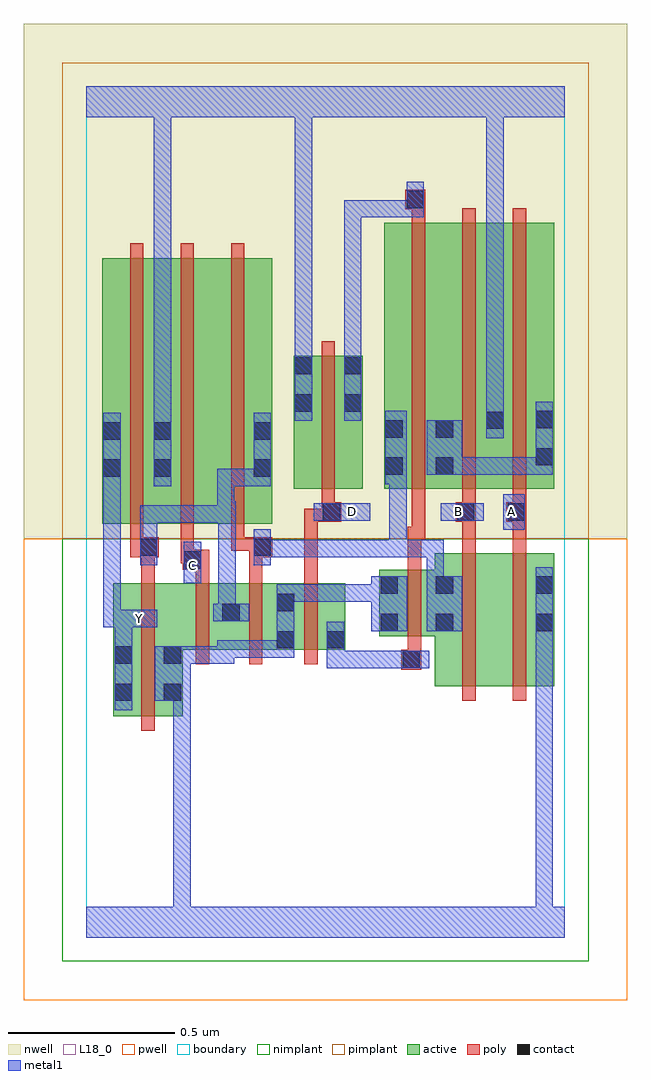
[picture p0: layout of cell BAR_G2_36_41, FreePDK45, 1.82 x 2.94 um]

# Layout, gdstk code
import gdstk
lib = gdstk.Library(unit=1e-6, precision=1e-09)
def R(c, l, rs):  # rectangles x0, y0, x1, y1
    for r in rs: c.add(gdstk.rectangle(r[:2], r[2:], *l))
def A(c, l, x, y, w, h, nx, ny, dx, dy):  # array of equal rectangles
    R(c, l, [(x+i*dx, y+j*dy, x+i*dx+w, y+j*dy+h) for i in range(nx) for j in range(ny)])
active = (1, 0)
pwell = (2, 0)
nwell = (3, 0)
nimplant = (4, 0)
pimplant = (5, 0)
poly = (9, 0)
contact = (10, 0)
metal1 = (11, 0)
L18_0 = (18, 0)
boundary = (235, 0)

bar_g2_36_41 = lib.new_cell('BAR_G2_36_41')
A(bar_g2_36_41, active, 0.896, 1.35, 0.06, 0.8, 3, 1, 0.152, 0)
R(bar_g2_36_41, active, [(0.082,0.666,0.142,1.066), (0.082,0.666,0.29,1.066), (0.23,0.708,0.29,0.908), (1.048,0.756,1.228,1.156), (1.048,0.756,1.108,1.106), (1.228,0.756,1.408,1.156), (1.348,0.756,1.408,1.156), (0.23,0.866,0.466,1.066), (0.406,0.866,0.466,1.066), (0.406,0.866,0.63,1.066), (0.57,0.866,0.78,1.066), (0.57,0.866,0.63,1.038), (0.72,0.866,0.78,1.066), (0.882,0.906,1.108,1.106), (0.882,0.906,0.942,1.106), (0.048,1.244,0.108,2.044), (0.048,1.244,0.26,2.044), (0.2,1.244,0.26,2.044), (0.2,1.244,0.38,2.044), (0.38,1.244,0.56,2.044), (0.5,1.244,0.56,2.044), (0.624,1.35,0.684,1.75), (0.624,1.35,0.832,1.75), (0.772,1.35,0.832,1.75), (0.896,1.35,1.108,2.15), (1.048,1.35,1.26,2.15), (1.2,1.35,1.408,2.15), (1.348,1.35,1.408,2.15)])
R(bar_g2_36_41, pwell, [(-0.188,-0.188,1.628,1.2)])
R(bar_g2_36_41, nwell, [(-0.188,1.2,1.628,2.748)])
R(bar_g2_36_41, nimplant, [(-0.072,-0.072,1.512,1.2)])
R(bar_g2_36_41, pimplant, [(-0.072,1.2,1.512,2.632)])
A(bar_g2_36_41, poly, 0.132, 1.2, 0.04, 0.888, 3, 1, 0.152, 0)
A(bar_g2_36_41, poly, 0.98, 1.306, 0.04, 0.888, 3, 1, 0.152, 0)
R(bar_g2_36_41, poly, [(0.166,0.622,0.206,1.11), (1.132,0.712,1.172,1.2), (1.284,0.712,1.324,1.2), (0.948,0.806,1.008,0.866), (0.33,0.822,0.37,1.11), (0.49,0.822,0.53,1.11), (0.656,0.822,0.696,1.11), (0.968,0.826,1.008,0.902), (0.968,0.862,1.008,1.15), (0.166,1.07,0.206,1.184), (0.33,1.07,0.37,1.146), (0.49,1.07,0.53,1.184), (0.656,1.07,0.696,1.29), (0.29,1.106,0.37,1.166), (0.968,1.11,1.008,1.236), (0.284,1.126,0.324,1.24), (0.284,1.126,0.33,1.166), (0.29,1.126,0.33,1.166), (0.132,1.144,0.218,1.204), (0.166,1.144,0.206,1.184), (0.166,1.144,0.206,1.184), (0.49,1.144,0.56,1.204), (1.132,1.16,1.172,1.29), (1.284,1.16,1.324,1.29), (0.132,1.164,0.172,1.24), (0.436,1.164,0.476,1.24), (0.436,1.164,0.53,1.204), (0.49,1.164,0.53,1.204), (0.968,1.196,1.008,1.236), (0.968,1.196,1.008,1.236), (0.968,1.196,1.02,1.236), (0.98,1.196,1.02,1.346), (0.656,1.25,0.748,1.29), (0.708,1.25,0.748,1.29), (0.708,1.25,0.768,1.31), (1.112,1.25,1.172,1.31), (1.132,1.25,1.172,1.29), (1.132,1.25,1.172,1.29), (1.264,1.25,1.324,1.31), (0.708,1.27,0.748,1.346), (1.132,1.27,1.172,1.346), (1.284,1.27,1.324,1.346), (1.284,1.27,1.324,1.31), (1.284,1.27,1.324,1.31), (0.708,1.306,0.748,1.794), (0.98,2.154,1.02,2.23), (0.96,2.19,1.02,2.25)])
R(bar_g2_36_41, contact, [(0.086,0.712,0.138,0.764), (0.234,0.712,0.286,0.764), (0.952,0.81,1.004,0.862), (0.086,0.824,0.138,0.876), (0.234,0.824,0.286,0.876), (0.574,0.87,0.626,0.922), (0.724,0.87,0.776,0.922), (0.886,0.922,0.938,0.974), (1.052,0.922,1.104,0.974), (1.352,0.922,1.404,0.974), (0.41,0.952,0.462,1.004), (0.574,0.982,0.626,1.034), (0.886,1.034,0.938,1.086), (1.052,1.034,1.104,1.086), (1.352,1.034,1.404,1.086), (0.294,1.11,0.346,1.162), (0.162,1.148,0.214,1.2), (0.504,1.148,0.556,1.2), (0.712,1.254,0.764,1.306), (1.116,1.254,1.168,1.306), (1.268,1.254,1.32,1.306), (0.052,1.386,0.104,1.438), (0.204,1.386,0.256,1.438), (0.504,1.386,0.556,1.438), (0.9,1.392,0.952,1.444), (1.052,1.392,1.104,1.444), (1.352,1.42,1.404,1.472), (0.052,1.498,0.104,1.55), (0.204,1.498,0.256,1.55), (0.504,1.498,0.556,1.55), (0.9,1.504,0.952,1.556), (1.052,1.504,1.104,1.556), (1.204,1.53,1.256,1.582), (1.352,1.532,1.404,1.584), (0.628,1.582,0.68,1.634), (0.776,1.582,0.828,1.634), (0.628,1.694,0.68,1.746), (0.776,1.694,0.828,1.746), (0.964,2.194,1.016,2.246)])
R(bar_g2_36_41, metal1, [(0,0,1.44,0.092), (0.262,0.04,0.314,0.092), (0.262,0.04,0.314,0.092), (0.262,0.04,0.314,0.092), (0.262,0.04,0.314,0.092), (0.262,0.04,0.314,0.092), (0.262,0.04,0.314,0.092), (0.262,0.04,0.314,0.092), (0.262,0.04,0.314,0.092), (0.262,0.04,0.314,0.092), (0.262,0.04,0.314,0.092), (0.262,0.04,0.314,0.764), (1.352,0.04,1.404,0.092), (1.352,0.04,1.404,0.092), (1.352,0.04,1.404,0.946), (0.086,0.684,0.138,0.904), (0.206,0.712,0.314,0.876), (0.262,0.712,0.314,0.764), (0.262,0.712,0.314,0.764), (0.724,0.81,0.776,0.862), (0.724,0.81,0.966,0.862), (0.724,0.81,0.776,0.894), (0.914,0.81,0.966,0.862), (0.914,0.81,0.976,0.862), (0.924,0.81,1.032,0.862), (0.262,0.824,0.446,0.876), (0.394,0.824,0.446,0.876), (0.394,0.824,0.446,0.876), (0.394,0.824,0.446,0.876), (0.394,0.824,0.446,0.876), (0.394,0.824,0.446,0.876), (0.394,0.824,0.446,0.894), (0.394,0.842,0.446,0.894), (0.394,0.842,0.556,0.894), (0.504,0.842,0.556,0.894), (0.504,0.842,0.626,0.894), (0.574,0.842,0.626,1.062), (0.724,0.842,0.776,0.95), (0.086,0.852,0.138,0.986), (1.352,0.894,1.404,0.946), (1.352,0.894,1.404,0.946), (1.352,0.894,1.404,0.946), (1.352,0.894,1.404,0.946), (1.352,0.894,1.404,0.946), (1.352,0.894,1.404,0.946), (1.352,0.894,1.404,0.946), (1.352,0.894,1.404,0.946), (1.352,0.894,1.404,0.946), (1.352,0.894,1.404,0.946), (1.352,0.894,1.404,1.114), (0.858,0.922,0.966,1.086), (1.024,0.922,1.132,1.086), (0.052,0.934,0.214,0.986), (0.052,0.934,0.104,1.41), (0.382,0.952,0.49,1.004), (0.398,0.952,0.45,1.004), (0.398,0.952,0.45,1.004), (0.398,0.952,0.45,1.312), (0.574,1.01,0.626,1.062), (0.574,1.01,0.626,1.062), (0.574,1.01,0.666,1.062), (0.614,1.01,0.666,1.062), (0.614,1.01,0.786,1.062), (0.734,1.01,0.786,1.062), (0.734,1.01,0.786,1.062), (0.734,1.01,0.786,1.062), (0.734,1.01,0.91,1.062), (1.024,1.034,1.076,1.196), (0.294,1.066,0.346,1.19), (0.162,1.12,0.214,1.228), (0.504,1.12,0.556,1.228), (0.504,1.144,0.56,1.196), (0.508,1.144,0.56,1.196), (0.508,1.144,0.666,1.196), (0.614,1.144,0.666,1.196), (0.614,1.144,0.8,1.196), (0.748,1.144,0.8,1.196), (0.748,1.144,0.8,1.196), (0.748,1.144,0.8,1.196), (0.748,1.144,0.964,1.196), (0.912,1.144,0.964,1.196), (0.912,1.144,0.964,1.196), (0.912,1.144,0.964,1.196), (0.912,1.144,1.076,1.196), (0.912,1.144,0.964,1.416), (1.024,1.144,1.076,1.196), (0.162,1.176,0.214,1.228), (0.162,1.176,0.214,1.3), (1.254,1.226,1.32,1.334), (0.162,1.248,0.446,1.3), (0.394,1.248,0.446,1.312), (0.684,1.254,0.854,1.306), (1.066,1.254,1.196,1.306), (0.394,1.26,0.446,1.312), (0.394,1.26,0.45,1.312), (0.394,1.26,0.446,1.41), (0.052,1.358,0.104,1.41), (0.052,1.358,0.104,1.41), (0.052,1.358,0.104,1.578), (0.204,1.358,0.256,1.578), (0.394,1.358,0.446,1.41), (0.394,1.358,0.556,1.41), (0.504,1.358,0.556,1.41), (0.504,1.358,0.556,1.41), (0.504,1.358,0.556,1.578), (0.9,1.364,0.964,1.584), (0.912,1.364,0.964,1.416), (0.912,1.364,0.964,1.416), (1.024,1.392,1.132,1.556), (1.08,1.392,1.132,1.444), (1.08,1.392,1.132,1.444), (1.08,1.392,1.294,1.444), (1.242,1.392,1.294,1.444), (1.242,1.392,1.404,1.444), (1.352,1.392,1.404,1.444), (1.352,1.392,1.404,1.444), (1.352,1.392,1.404,1.612), (1.204,1.502,1.256,1.61), (0.204,1.526,0.256,1.578), (0.204,1.526,0.256,1.578), (0.204,1.526,0.256,1.578), (0.204,1.526,0.256,1.578), (0.204,1.526,0.256,1.578), (0.204,1.526,0.256,1.578), (0.204,1.526,0.256,2.52), (0.628,1.554,0.68,1.774), (0.776,1.554,0.828,1.774), (1.204,1.558,1.256,1.61), (1.204,1.558,1.256,1.61), (1.204,1.558,1.256,2.52), (0.628,1.722,0.68,1.774), (0.628,1.722,0.68,1.774), (0.628,1.722,0.68,1.774), (0.628,1.722,0.68,1.774), (0.628,1.722,0.68,1.774), (0.628,1.722,0.68,1.774), (0.628,1.722,0.68,1.774), (0.628,1.722,0.68,1.774), (0.628,1.722,0.68,1.774), (0.628,1.722,0.68,1.774), (0.628,1.722,0.68,1.774), (0.628,1.722,0.68,1.774), (0.628,1.722,0.68,1.774), (0.628,1.722,0.68,1.774), (0.628,1.722,0.68,2.52), (0.776,1.722,0.828,1.774), (0.776,1.722,0.828,1.774), (0.776,1.722,0.828,1.774), (0.776,1.722,0.828,1.774), (0.776,1.722,0.828,2.218), (0.776,2.166,0.828,2.218), (0.776,2.166,0.828,2.218), (0.776,2.166,0.828,2.218), (0.776,2.166,0.828,2.218), (0.776,2.166,0.828,2.218), (0.776,2.166,0.91,2.218), (0.858,2.166,0.91,2.218), (0.858,2.166,1.016,2.218), (0.964,2.166,1.016,2.274), (0,2.468,1.44,2.56), (0.204,2.468,0.256,2.52), (0.204,2.468,0.256,2.52), (0.628,2.468,0.68,2.52), (0.628,2.468,0.68,2.52), (1.204,2.468,1.256,2.52), (1.204,2.468,1.256,2.52), (1.204,2.468,1.256,2.52), (1.204,2.468,1.256,2.52), (1.204,2.468,1.256,2.52), (1.204,2.468,1.256,2.52)])
R(bar_g2_36_41, L18_0, [(0,0,1.44,0.092), (0.262,0.04,0.314,0.092), (0.262,0.04,0.314,0.092), (0.262,0.04,0.314,0.092), (0.262,0.04,0.314,0.092), (0.262,0.04,0.314,0.092), (0.262,0.04,0.314,0.092), (0.262,0.04,0.314,0.092), (0.262,0.04,0.314,0.092), (0.262,0.04,0.314,0.092), (0.262,0.04,0.314,0.092), (0.262,0.04,0.314,0.764), (1.352,0.04,1.404,0.092), (1.352,0.04,1.404,0.092), (1.352,0.04,1.404,0.946), (0.086,0.684,0.138,0.904), (0.206,0.712,0.314,0.876), (0.262,0.712,0.314,0.764), (0.262,0.712,0.314,0.764), (0.262,0.824,0.446,0.876), (0.394,0.824,0.446,0.876), (0.394,0.824,0.446,0.876), (0.394,0.824,0.446,0.876), (0.394,0.824,0.446,0.876), (0.394,0.824,0.446,0.876), (0.394,0.824,0.446,0.894), (0.394,0.842,0.556,0.894), (0.394,0.842,0.446,0.894), (0.504,0.842,0.556,0.894), (0.504,0.842,0.626,0.894), (0.574,0.842,0.626,1.062), (0.086,0.852,0.138,0.986), (1.352,0.894,1.404,1.114), (1.352,0.894,1.404,0.946), (1.352,0.894,1.404,0.946), (1.352,0.894,1.404,0.946), (1.352,0.894,1.404,0.946), (1.352,0.894,1.404,0.946), (1.352,0.894,1.404,0.946), (1.352,0.894,1.404,0.946), (1.352,0.894,1.404,0.946), (1.352,0.894,1.404,0.946), (1.352,0.894,1.404,0.946), (0.858,0.922,0.966,1.086), (0.052,0.934,0.214,0.986), (0.052,0.934,0.104,1.41), (0.134,0.934,0.186,0.986), (0.574,1.01,0.626,1.062), (0.574,1.01,0.626,1.062), (0.574,1.01,0.666,1.062), (0.614,1.01,0.666,1.062), (0.614,1.01,0.786,1.062), (0.734,1.01,0.786,1.062), (0.734,1.01,0.786,1.062), (0.734,1.01,0.786,1.062), (0.734,1.01,0.91,1.062), (0.294,1.066,0.346,1.19), (0.294,1.094,0.346,1.146), (1.254,1.226,1.32,1.334), (0.684,1.254,0.854,1.306), (0.774,1.254,0.826,1.306), (1.066,1.254,1.196,1.306), (1.094,1.254,1.146,1.306), (1.254,1.254,1.306,1.306), (0.052,1.358,0.104,1.578), (0.052,1.358,0.104,1.41), (0.052,1.358,0.104,1.41), (0.204,1.358,0.256,1.578), (1.204,1.502,1.256,1.61), (0.204,1.526,0.256,1.578), (0.204,1.526,0.256,1.578), (0.204,1.526,0.256,1.578), (0.204,1.526,0.256,1.578), (0.204,1.526,0.256,1.578), (0.204,1.526,0.256,1.578), (0.204,1.526,0.256,2.52), (0.628,1.554,0.68,1.774), (1.204,1.558,1.256,1.61), (1.204,1.558,1.256,1.61), (1.204,1.558,1.256,2.52), (0.628,1.722,0.68,1.774), (0.628,1.722,0.68,1.774), (0.628,1.722,0.68,1.774), (0.628,1.722,0.68,1.774), (0.628,1.722,0.68,1.774), (0.628,1.722,0.68,1.774), (0.628,1.722,0.68,1.774), (0.628,1.722,0.68,1.774), (0.628,1.722,0.68,1.774), (0.628,1.722,0.68,1.774), (0.628,1.722,0.68,1.774), (0.628,1.722,0.68,1.774), (0.628,1.722,0.68,1.774), (0.628,1.722,0.68,1.774), (0.628,1.722,0.68,2.52), (0,2.468,1.44,2.56), (0.204,2.468,0.256,2.52), (0.204,2.468,0.256,2.52), (0.628,2.468,0.68,2.52), (0.628,2.468,0.68,2.52), (1.204,2.468,1.256,2.52), (1.204,2.468,1.256,2.52), (1.204,2.468,1.256,2.52), (1.204,2.468,1.256,2.52), (1.204,2.468,1.256,2.52), (1.204,2.468,1.256,2.52)])
R(bar_g2_36_41, boundary, [(0,0,1.44,2.56)])
bar_g2_36_41.add(gdstk.Label('A', (1.28,1.28), layer=11, texttype=0))
bar_g2_36_41.add(gdstk.Label('B', (1.12,1.28), layer=11, texttype=0))
bar_g2_36_41.add(gdstk.Label('C', (0.32,1.12), layer=11, texttype=0))
bar_g2_36_41.add(gdstk.Label('D', (0.8,1.28), layer=11, texttype=0))
bar_g2_36_41.add(gdstk.Label('Y', (0.16,0.96), layer=11, texttype=0))

lib.write_gds('BAR_G2_36_41.gds')
